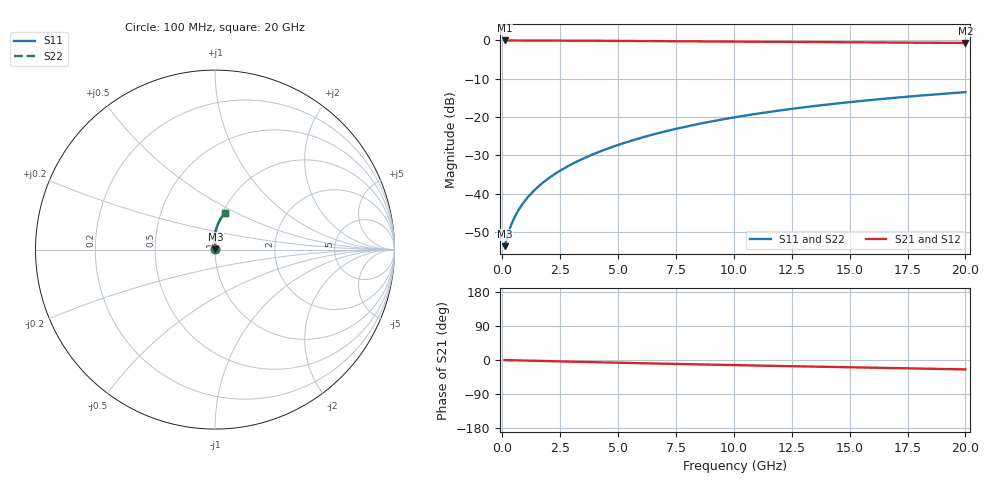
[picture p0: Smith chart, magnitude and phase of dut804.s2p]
! Touchstone file exported from HFSS 2024.1.0
!  File:  C:/UserFiles/LocalFiles/RDL_TSV_Batchsim/temp_RDL_top_804_1779853876.aedt
!  Generated:  11:53:33 AM May 27, 2026
!  Design:  RDL_top
!  Project:  temp_RDL_top_804_1779853876
!  Setup:  Setup1
!  Solution:  Sweep
! Variables:
!  dtsv = 10.80580581um
!  hbump = 3um
!  htsv = 82.46um
!  ldown = 100um
!  lrdl = 354.47um
!  p = 40
!  p1 = 48.28um
!  rhole = 1um
!  t = 450um
!  tdown = 3.915915916um
!  trdl = 2.93um
!  wdown = 15.38538539um
!  wrdl = 28.08um
# GHz S MA R 50.000000
! Terminal data exported
! Port[1] = Box2_T1
! Port[2] = Box2_T2
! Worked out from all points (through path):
!   200 points, 100 MHz to 20 GHz, reference 50 ohm
!   highest |S21| = -0.02 dB at 100 MHz (marker M1); lowest = -0.7 dB at 20 GHz (marker M2)
!   group delay of S21, straight-line fit = 3.39 ps
!   lowest |S11| = -53.7 dB at 100 MHz (marker M3), VSWR 1.00, Z = 50.2 + j0.094 ohm
!   |S11| at or under -10 dB: start of sweep to end of sweep
!   |S22| runs from -53.7 to -13.5 dB; largest |S21 - S12| = 3.5e-15
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0.1  0.002056 27.1  0.9982 -0.2  0.9982 -0.2  0.002056 27.1
! Gamma 0 0 0 0
! Port Impedance 50 0 50 0
0.3  0.003332 52.4  0.9979 -0.5  0.9979 -0.5  0.003332 52.4
0.4  0.004019 58.2  0.9977 -0.6  0.9977 -0.6  0.004019 58.2
0.5  0.004703 62.5  0.9976 -0.8  0.9976 -0.8  0.004703 62.5
0.6  0.005388 65.9  0.9975 -0.9  0.9975 -0.9  0.005388 65.9
0.8  0.006778 71.0  0.9972 -1.2  0.9972 -1.2  0.006778 71.0
1  0.008203 74.8  0.997 -1.5  0.997 -1.5  0.008203 74.8
1.2  0.009665 77.7  0.9967 -1.8  0.9967 -1.8  0.009666 77.7
1.7  0.01346 82.6  0.9958 -2.5  0.9958 -2.5  0.01346 82.6
2.2  0.01745 85.8  0.9947 -3.3  0.9947 -3.3  0.01745 85.8
2.8  0.02247 88.3  0.9931 -4.1  0.9931 -4.1  0.02248 88.4
3.5  0.02867 90.3  0.9909 -5.1  0.9909 -5.1  0.02868 90.3
4.2  0.03523 91.4  0.9885 -6.1  0.9885 -6.1  0.03524 91.5
5  0.04314 92.1  0.9853 -7.2  0.9853 -7.2  0.04315 92.2
5.9  0.05248 92.3  0.9816 -8.4  0.9816 -8.4  0.0525 92.3
6.8  0.06222 92.0  0.9778 -9.5  0.9778 -9.5  0.06224 92.0
8.4  0.0802 90.7  0.9709 -11.5  0.9709 -11.5  0.08023 90.7
10.1  0.09981 88.7  0.9638 -13.6  0.9638 -13.6  0.09986 88.7
11.7  0.1184 86.5  0.9573 -15.5  0.9573 -15.5  0.1185 86.5
13.4  0.1381 84.1  0.9506 -17.4  0.9506 -17.4  0.1381 84.1
16.7  0.1753 79.4  0.9382 -21.2  0.9382 -21.2  0.1754 79.4
20  0.211 74.8  0.9261 -24.8  0.9261 -24.8  0.2111 74.9
